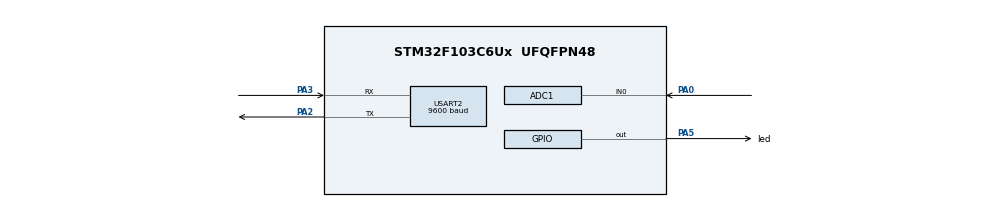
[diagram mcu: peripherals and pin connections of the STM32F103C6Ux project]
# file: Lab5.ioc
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ADC1.Channel-0\#ChannelRegularConversion=ADC_CHANNEL_0
ADC1.ContinuousConvMode=ENABLE
ADC1.NbrOfConversionFlag=1
ADC1.Rank-0\#ChannelRegularConversion=1
ADC1.SamplingTime-0\#ChannelRegularConversion=ADC_SAMPLETIME_1CYCLE_5
ADC1.master=1
Mcu.Family=STM32F1
Mcu.Name=STM32F103C6Ux
Mcu.Package=UFQFPN48
NVIC.PriorityGroup=NVIC_PRIORITYGROUP_4
NVIC.TIM2_IRQn=true\:0\:0\:false\:false\:true\:true\:true
NVIC.USART2_IRQn=true\:0\:0\:false\:false\:true\:true\:true
PA0-WKUP.Signal=ADCx_IN0
PA2.Mode=Asynchronous
PA2.Signal=USART2_TX
PA3.Mode=Asynchronous
PA3.Signal=USART2_RX
PA5.GPIO_Label=led
PA5.Signal=GPIO_Output
ProjectManager.HeapSize=0x200
ProjectManager.StackSize=0x400
ProjectManager.TargetToolchain=STM32CubeIDE
RCC.APB1Freq_Value=8000000
RCC.APB2Freq_Value=8000000
SH.ADCx_IN0.0=ADC1_IN0,IN0
TIM2.Period=9
TIM2.Prescaler=7999
USART2.BaudRate=9600
USART2.VirtualMode=VM_ASYNC
VP_SYS_VS_ND.Mode=No_Debug
VP_TIM2_VS_ClockSourceINT.Mode=Internal
board=custom

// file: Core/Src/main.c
/* USER CODE BEGIN Header */
/**
  ******************************************************************************
  * @file           : main.c
  * @brief          : Main program body
  ******************************************************************************
  * @attention
  *
  * <h2><center>&copy; Copyright (c) 2024 STMicroelectronics.
  * All rights reserved.</center></h2>
  *
  * This software component is licensed by ST under BSD 3-Clause license,
  * the "License"; You may not use this file except in compliance with the
  * License. You may obtain a copy of the License at:
  *                        opensource.org/licenses/BSD-3-Clause
  *
  ******************************************************************************
  */
/* USER CODE END Header */
#include "main.h"
#include "global.h"

ADC_HandleTypeDef hadc1;

TIM_HandleTypeDef htim2;

UART_HandleTypeDef huart2;

void SystemClock_Config(void);
static void MX_GPIO_Init(void);
static void MX_ADC1_Init(void);
static void MX_TIM2_Init(void);
static void MX_USART2_UART_Init(void);

/* USER CODE BEGIN 0 */
void HAL_UART_RxCpltCallback(UART_HandleTypeDef *huart){
if(huart->Instance == USART2){
	 //HAL_UART_Transmit(&huart2 , &temp, 1, 50);
	 buffer[index_buffer++]=temp;
	 if(index_buffer == MAX_BUFFER_SIZE){
		 index_buffer = 0;
	 }
	 buffer_flag=1;
	 HAL_UART_Receive_IT(&huart2 ,&temp , 1);
}
}

 void uart_communication_fsm (){
	 switch(status_uart){
	 	 case UART_INIT:
	 		 break;
	 	 case UART_SEND:
	 		 if(timer1_flag==1){
	 			 ADC_value = HAL_ADC_GetValue(&hadc1);
	 			 HAL_UART_Transmit(&huart2, (void*)str, sprintf(str, "\r\n!%ld#\r\n",ADC_value), 1000);
	 			 HAL_GPIO_TogglePin(led_GPIO_Port, led_Pin);
	 			 setTimer1(3000);
	 		 }
	 		 break;
	 	 case UART_FINISH:
	 		 HAL_UART_Transmit(&huart2, (void*)str, sprintf(str, "\r\n%s\r\n","END"), 1000);
	 		 status_uart = UART_INIT;
	 		 break;
	 	 default:
		  break;
	 }
 }
/* USER CODE END 0 */

int main(void)
{

  /* MCU Configuration--------------------------------------------------------*/

  /* Reset of all peripherals, Initializes the Flash interface and the Systick. */
  HAL_Init();

  /* Configure the system clock */
  SystemClock_Config();

  /* Initialize all configured peripherals */
  MX_GPIO_Init();
  MX_ADC1_Init();
  MX_TIM2_Init();
  MX_USART2_UART_Init();
  /* USER CODE BEGIN 2 */
  HAL_TIM_Base_Start_IT (& htim2 );
  HAL_ADC_Start(&hadc1);
  /* USER CODE END 2 */

  /* Infinite loop */
  /* USER CODE BEGIN WHILE */
  HAL_UART_Receive_IT (&huart2 , &temp , 1);
  setTimer1(10);
  while (1)
  {
    /* USER CODE END WHILE */
	  if (buffer_flag == 1) {
	      command_parser_fsm();
	      buffer_flag = 0;
	  }
	  uart_communication_fsm();
  }
}

void SystemClock_Config(void)
{
  RCC_OscInitTypeDef RCC_OscInitStruct = {0};
  RCC_ClkInitTypeDef RCC_ClkInitStruct = {0};
  RCC_PeriphCLKInitTypeDef PeriphClkInit = {0};

  /** Initializes the RCC Oscillators according to the specified parameters
  * in the RCC_OscInitTypeDef structure.
  */
  RCC_OscInitStruct.OscillatorType = RCC_OSCILLATORTYPE_HSI;
  RCC_OscInitStruct.HSIState = RCC_HSI_ON;
  RCC_OscInitStruct.HSICalibrationValue = RCC_HSICALIBRATION_DEFAULT;
  RCC_OscInitStruct.PLL.PLLState = RCC_PLL_NONE;
  if (HAL_RCC_OscConfig(&RCC_OscInitStruct) != HAL_OK)
  {
    Error_Handler();
  }
  /** Initializes the CPU, AHB and APB buses clocks
  */
  RCC_ClkInitStruct.ClockType = RCC_CLOCKTYPE_HCLK|RCC_CLOCKTYPE_SYSCLK
                              |RCC_CLOCKTYPE_PCLK1|RCC_CLOCKTYPE_PCLK2;
  RCC_ClkInitStruct.SYSCLKSource = RCC_SYSCLKSOURCE_HSI;
  RCC_ClkInitStruct.AHBCLKDivider = RCC_SYSCLK_DIV1;
  RCC_ClkInitStruct.APB1CLKDivider = RCC_HCLK_DIV1;
  RCC_ClkInitStruct.APB2CLKDivider = RCC_HCLK_DIV1;

  if (HAL_RCC_ClockConfig(&RCC_ClkInitStruct, FLASH_LATENCY_0) != HAL_OK)
  {
    Error_Handler();
  }
  PeriphClkInit.PeriphClockSelection = RCC_PERIPHCLK_ADC;
  PeriphClkInit.AdcClockSelection = RCC_ADCPCLK2_DIV2;
  if (HAL_RCCEx_PeriphCLKConfig(&PeriphClkInit) != HAL_OK)
  {
    Error_Handler();
  }
}

static void MX_ADC1_Init(void)
{

  ADC_ChannelConfTypeDef sConfig = {0};

  /** Common config
  */
  hadc1.Instance = ADC1;
  hadc1.Init.ScanConvMode = ADC_SCAN_DISABLE;
  hadc1.Init.ContinuousConvMode = ENABLE;
  hadc1.Init.DiscontinuousConvMode = DISABLE;
  hadc1.Init.ExternalTrigConv = ADC_SOFTWARE_START;
  hadc1.Init.DataAlign = ADC_DATAALIGN_RIGHT;
  hadc1.Init.NbrOfConversion = 1;
  if (HAL_ADC_Init(&hadc1) != HAL_OK)
  {
    Error_Handler();
  }
  /** Configure Regular Channel
  */
  sConfig.Channel = ADC_CHANNEL_0;
  sConfig.Rank = ADC_REGULAR_RANK_1;
  sConfig.SamplingTime = ADC_SAMPLETIME_1CYCLE_5;
  if (HAL_ADC_ConfigChannel(&hadc1, &sConfig) != HAL_OK)
  {
    Error_Handler();
  }

}

static void MX_TIM2_Init(void)
{

  TIM_ClockConfigTypeDef sClockSourceConfig = {0};
  TIM_MasterConfigTypeDef sMasterConfig = {0};

  htim2.Instance = TIM2;
  htim2.Init.Prescaler = 7999;
  htim2.Init.CounterMode = TIM_COUNTERMODE_UP;
  htim2.Init.Period = 9;
  htim2.Init.ClockDivision = TIM_CLOCKDIVISION_DIV1;
  htim2.Init.AutoReloadPreload = TIM_AUTORELOAD_PRELOAD_DISABLE;
  if (HAL_TIM_Base_Init(&htim2) != HAL_OK)
  {
    Error_Handler();
  }
  sClockSourceConfig.ClockSource = TIM_CLOCKSOURCE_INTERNAL;
  if (HAL_TIM_ConfigClockSource(&htim2, &sClockSourceConfig) != HAL_OK)
  {
    Error_Handler();
  }
  sMasterConfig.MasterOutputTrigger = TIM_TRGO_RESET;
  sMasterConfig.MasterSlaveMode = TIM_MASTERSLAVEMODE_DISABLE;
  if (HAL_TIMEx_MasterConfigSynchronization(&htim2, &sMasterConfig) != HAL_OK)
  {
    Error_Handler();
  }

}

static void MX_USART2_UART_Init(void)
{

  huart2.Instance = USART2;
  huart2.Init.BaudRate = 9600;
  huart2.Init.WordLength = UART_WORDLENGTH_8B;
  huart2.Init.StopBits = UART_STOPBITS_1;
  huart2.Init.Parity = UART_PARITY_NONE;
  huart2.Init.Mode = UART_MODE_TX_RX;
  huart2.Init.HwFlowCtl = UART_HWCONTROL_NONE;
  huart2.Init.OverSampling = UART_OVERSAMPLING_16;
  if (HAL_UART_Init(&huart2) != HAL_OK)
  {
    Error_Handler();
  }

}

static void MX_GPIO_Init(void)
{
  GPIO_InitTypeDef GPIO_InitStruct = {0};

  /* GPIO Ports Clock Enable */
  __HAL_RCC_GPIOA_CLK_ENABLE();

  /*Configure GPIO pin Output Level */
  HAL_GPIO_WritePin(led_GPIO_Port, led_Pin, GPIO_PIN_RESET);

  /*Configure GPIO pin : led_Pin */
  GPIO_InitStruct.Pin = led_Pin;
  GPIO_InitStruct.Mode = GPIO_MODE_OUTPUT_PP;
  GPIO_InitStruct.Pull = GPIO_NOPULL;
  GPIO_InitStruct.Speed = GPIO_SPEED_FREQ_LOW;
  HAL_GPIO_Init(led_GPIO_Port, &GPIO_InitStruct);

}

/* USER CODE BEGIN 4 */
void HAL_TIM_PeriodElapsedCallback ( TIM_HandleTypeDef * htim )
{
	timerRun();
}

/* USER CODE END 4 */

void Error_Handler(void)
{
  __disable_irq();
  while (1)
  {
  }
}

/************************ (C) COPYRIGHT STMicroelectronics *****END OF FILE****/
